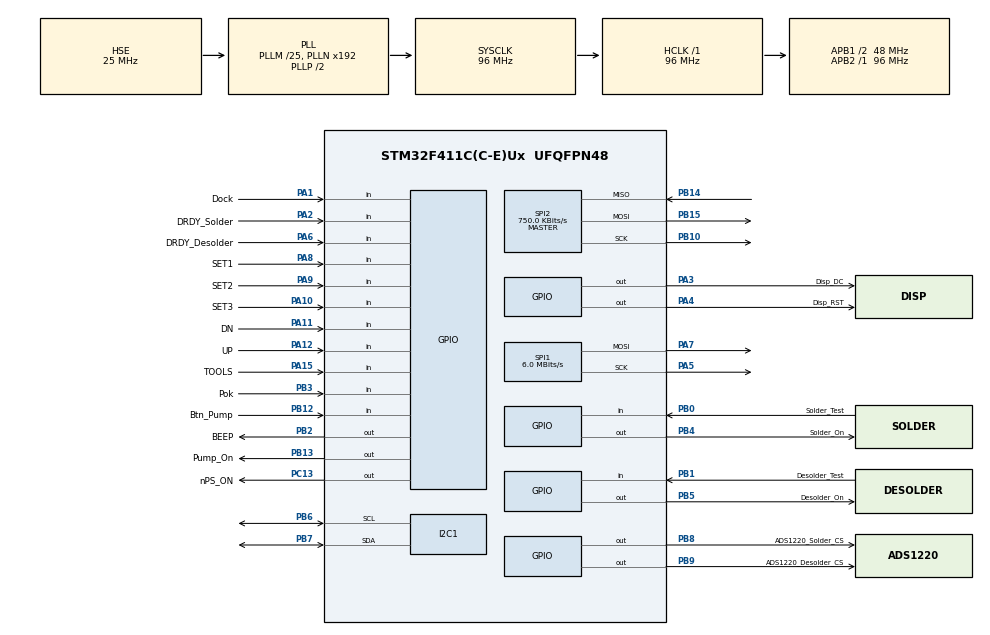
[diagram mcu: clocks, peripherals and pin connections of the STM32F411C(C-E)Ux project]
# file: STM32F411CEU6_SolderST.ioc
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Dma.Request0=SPI1_TX
Dma.SPI1_TX.0.Direction=DMA_MEMORY_TO_PERIPH
Dma.SPI1_TX.0.FIFOMode=DMA_FIFOMODE_DISABLE
Dma.SPI1_TX.0.Instance=DMA2_Stream2
Dma.SPI1_TX.0.MemDataAlignment=DMA_MDATAALIGN_BYTE
Dma.SPI1_TX.0.MemInc=DMA_MINC_ENABLE
Dma.SPI1_TX.0.Mode=DMA_NORMAL
Dma.SPI1_TX.0.PeriphDataAlignment=DMA_PDATAALIGN_BYTE
Dma.SPI1_TX.0.PeriphInc=DMA_PINC_DISABLE
Dma.SPI1_TX.0.Priority=DMA_PRIORITY_MEDIUM
I2C1.DutyCycle=I2C_DUTYCYCLE_2
I2C1.I2C_Mode=I2C_Fast
Mcu.Family=STM32F4
Mcu.Name=STM32F411C(C-E)Ux
Mcu.Package=UFQFPN48
NVIC.DMA2_Stream2_IRQn=true\:0\:0\:false\:false\:true\:false\:true\:true
NVIC.PriorityGroup=NVIC_PRIORITYGROUP_4
PA1.GPIO_Label=Dock
PA1.GPIO_PuPd=GPIO_PULLUP
PA1.Signal=GPIO_Input
PA10.GPIO_Label=SET3
PA10.GPIO_PuPd=GPIO_PULLUP
PA10.Signal=GPIO_Input
PA11.GPIO_Label=DN
PA11.GPIO_PuPd=GPIO_PULLUP
PA11.Signal=GPIO_Input
PA12.GPIO_Label=UP
PA12.GPIO_PuPd=GPIO_PULLUP
PA12.Signal=GPIO_Input
PA15.GPIO_Label=TOOLS
PA15.GPIO_PuPd=GPIO_PULLUP
PA15.Signal=GPIO_Input
PA2.GPIO_Label=DRDY_Solder
PA2.Signal=GPIO_Input
PA3.GPIO_Label=Disp_DC
PA3.Signal=GPIO_Output
PA4.GPIO_Label=Disp_RST
PA4.Signal=GPIO_Output
PA5.Mode=TX_Only_Simplex_Unidirect_Master
PA5.Signal=SPI1_SCK
PA6.GPIO_Label=DRDY_Desolder
PA6.Signal=GPIO_Input
PA7.Mode=TX_Only_Simplex_Unidirect_Master
PA7.Signal=SPI1_MOSI
PA8.GPIO_Label=SET1
PA8.GPIO_PuPd=GPIO_PULLUP
PA8.Signal=GPIO_Input
PA9.GPIO_Label=SET2
PA9.GPIO_PuPd=GPIO_PULLUP
PA9.Signal=GPIO_Input
PB0.GPIO_Label=Solder_Test
PB0.GPIO_PuPd=GPIO_PULLUP
PB0.Signal=GPIO_Input
PB1.GPIO_Label=Desolder_Test
PB1.GPIO_PuPd=GPIO_PULLUP
PB1.Signal=GPIO_Input
PB10.Mode=Full_Duplex_Master
PB10.Signal=SPI2_SCK
PB12.GPIO_Label=Btn_Pump
PB12.GPIO_PuPd=GPIO_PULLDOWN
PB12.Signal=GPIO_Input
PB13.GPIO_Label=Pump_On
PB13.PinState=GPIO_PIN_SET
PB13.Signal=GPIO_Output
PB14.Mode=Full_Duplex_Master
PB14.Signal=SPI2_MISO
PB15.Mode=Full_Duplex_Master
PB15.Signal=SPI2_MOSI
PB2.GPIO_Label=BEEP
PB2.PinState=GPIO_PIN_RESET
PB2.Signal=GPIO_Output
PB3.GPIO_Label=Pok
PB3.GPIO_PuPd=GPIO_PULLUP
PB3.Signal=GPIO_Input
PB4.GPIO_Label=Solder_On
PB4.PinState=GPIO_PIN_SET
PB4.Signal=GPIO_Output
PB5.GPIO_Label=Desolder_On
PB5.PinState=GPIO_PIN_SET
PB5.Signal=GPIO_Output
PB6.Mode=I2C
PB6.Signal=I2C1_SCL
PB7.Mode=I2C
PB7.Signal=I2C1_SDA
PB8.GPIO_Label=ADS1220_Solder_CS
PB8.PinState=GPIO_PIN_SET
PB8.Signal=GPIO_Output
PB9.GPIO_Label=ADS1220_Desolder_CS
PB9.PinState=GPIO_PIN_SET
PB9.Signal=GPIO_Output
PC13-ANTI_TAMP.GPIO_Label=nPS_ON
PC13-ANTI_TAMP.GPIO_ModeDefaultOutputPP=GPIO_MODE_OUTPUT_PP
PC13-ANTI_TAMP.GPIO_PuPd=GPIO_NOPULL
PC13-ANTI_TAMP.PinState=GPIO_PIN_SET
PC13-ANTI_TAMP.Signal=GPIO_Output
PH0\ -\ OSC_IN.Mode=HSE-External-Oscillator
PH0\ -\ OSC_IN.Signal=RCC_OSC_IN
PH1\ -\ OSC_OUT.Mode=HSE-External-Oscillator
PH1\ -\ OSC_OUT.Signal=RCC_OSC_OUT
ProjectManager.HeapSize=0x200
ProjectManager.StackSize=0x400
ProjectManager.TargetToolchain=STM32CubeIDE
RCC.48MHZClocksFreq_Value=48000000
RCC.AHBFreq_Value=96000000
RCC.APB1CLKDivider=RCC_HCLK_DIV2
RCC.APB1Freq_Value=48000000
RCC.APB1TimFreq_Value=96000000
RCC.APB2Freq_Value=96000000
RCC.APB2TimFreq_Value=96000000
RCC.CortexFreq_Value=96000000
RCC.HCLKFreq_Value=96000000
RCC.HSE_VALUE=25000000
RCC.HSI_VALUE=16000000
RCC.LSE_VALUE=32768
RCC.PLLM=25
RCC.PLLSourceVirtual=RCC_PLLSOURCE_HSE
RCC.SYSCLKFreq_VALUE=96000000
RCC.SYSCLKSource=RCC_SYSCLKSOURCE_PLLCLK
RCC.VCOOutputFreq_Value=192000000
SPI1.BaudRatePrescaler=SPI_BAUDRATEPRESCALER_16
SPI1.CLKPhase=SPI_PHASE_2EDGE
SPI1.CLKPolarity=SPI_POLARITY_HIGH
SPI1.CalculateBaudRate=6.0 MBits/s
SPI1.Direction=SPI_DIRECTION_2LINES
SPI1.Mode=SPI_MODE_MASTER
SPI1.VirtualType=VM_MASTER
SPI2.BaudRatePrescaler=SPI_BAUDRATEPRESCALER_64
SPI2.CLKPhase=SPI_PHASE_2EDGE
SPI2.CalculateBaudRate=750.0 KBits/s
SPI2.Direction=SPI_DIRECTION_2LINES
SPI2.Mode=SPI_MODE_MASTER
SPI2.VirtualType=VM_MASTER
board=custom

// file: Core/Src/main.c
/* USER CODE BEGIN Header */
/**
  ******************************************************************************
  * @file           : main.c
  * @brief          : Main program body
  ******************************************************************************
  * @attention
  *
  * Copyright (c) 2026 STMicroelectronics.
  * All rights reserved.
  *
  * This software is licensed under terms that can be found in the LICENSE file
  * in the root directory of this software component.
  * If no LICENSE file comes with this software, it is provided AS-IS.
  *
  ******************************************************************************
  */
/* USER CODE END Header */
#include "main.h"
#include "dma.h"
#include "i2c.h"
#include "spi.h"
#include "gpio.h"

/* USER CODE BEGIN Includes */
#include "display.h"
#include "gfx.h"
#include "fonts.h"
#include "text_field.h"
#include "screen.h"
#include "splash.h"
#include "buttons.h"
#include "sleep.h"
#include "fsm.h"
#include "settings.h"
#include "state.h"
#include "error.h"
#include "ads1220.h"
#include "beep.h"
#include "diag.h"
#include "control.h"
#include "pump.h"
/* USER CODE END Includes */

void SystemClock_Config(void);

/* USER CODE BEGIN 0 */

/* Аппаратный сторожевой таймер IWDG. Без него зависание главного цикла (или
 * бесконечный цикл в HardFault/Error_Handler) оставляет пины Solder_On/
 * Desolder_On на последнем уровне — включённый нагреватель греет на полную
 * до снятия питания. По сбросу IWDG пины возвращаются в выключенное состояние
 * из MX_GPIO_Init().
 *
 * Настроен напрямую через регистры (не через HAL_IWDG и не через .ioc):
 * не зависит от регенерации CubeMX (stm32f4xx_hal_conf.h/.ioc не трогаем).
 * LSI ~32 кГц (разброс 17..47 кГц), делитель /32, RLR=2000: номинально ~2 с,
 * в худшем случае не меньше ~1.4 с — заметно больше самого длинного
 * блокирующего места в главном цикле (перерисовка экрана по DMA — сотни мс).
 * Обновляется в 10мс-блоке главного цикла после Control_Poll() (см. ниже).
 * В отладке (стоп на брейкпоинте) счётчик замораживается. IWDG нельзя
 * остановить после запуска — запускается один раз, перед главным циклом,
 * уже после двойного прохода (самосброса) запуска: сброс IWDG проходит
 * запуск заново так же, как холодный старт. */
#define WATCHDOG_PRESCALER_DIV32  3U
#define WATCHDOG_RELOAD           2000U

static void Watchdog_Start(void)
{
  __HAL_DBGMCU_FREEZE_IWDG();
  IWDG->KR = 0xCCCCU;                     /* старт (LSI запускается автоматически) */
  IWDG->KR = 0x5555U;                     /* разблокировать PR/RLR */
  IWDG->PR  = WATCHDOG_PRESCALER_DIV32;
  IWDG->RLR = WATCHDOG_RELOAD;
  for (uint32_t i = 0; (IWDG->SR != 0U) && (i < 1000000U); i++) { } /* PVU/RVU */
  IWDG->KR = 0xAAAAU;                     /* перезагрузить счётчик новыми параметрами */
}

static inline void Watchdog_Refresh(void)
{
  IWDG->KR = 0xAAAAU;
}

/* USER CODE END 0 */

int main(void)
{

  /* MCU Configuration--------------------------------------------------------*/

  /* Reset of all peripherals, Initializes the Flash interface and the Systick. */
  HAL_Init();

  /* Configure the system clock */
  SystemClock_Config();

  /* Initialize all configured peripherals */
  MX_GPIO_Init();
  MX_DMA_Init();
  MX_I2C1_Init();
  MX_SPI1_Init();
  MX_SPI2_Init();
  /* USER CODE BEGIN 2 */
  Display_Init();

  /* Настройки читаем ДО заставки — режим заставки (пункт меню "Заставка")
   * лежит в них. Статус загрузки в Error отдаём позже, после заставки (см.
   * ниже): таймер транзитного сообщения об EEPROM стартует в
   * Error_ReportEepromStatus(), и 2 секунды заставки не должны его съедать. */
  State_Init();
  Settings_Init();   /* дефолты в RAM на случай сбоя чтения ниже */
  SettingsLoadStatus_t settings_load_status = Settings_Load(); /* поверх дефолтов — то, что реально сохранено в EEPROM (или ошибка/стёртый чип, см. settings.c) */

  /* Заставка на SPLASH_HOLD_MS при включении (Icons/Designer.png, 320x240 —
   * совпадает с размером экрана при DISPLAY_ROTATION_0, без масштабирования,
   * см. splash.h), если режим заставки не SPLASH_MODE_OFF. Блокирующее
   * ожидание оправдано: это разовая пауза ДО входа в главный цикл,
   * опрашивать пока ещё нечего (кнопки/АЦП/Control ещё не инициализированы). */
  if (Settings_GetSplashMode() != SPLASH_MODE_OFF) {
    Display_SetWindow(0, 0, 319, 239);
    Display_WritePixelsDMA(SplashScreen_Bitmap, (uint32_t)SPLASH_BITMAP_W * SPLASH_BITMAP_H);
    while (Display_IsBusy()) { } /* см. комментарий у чёрной заливки ниже */
    HAL_Delay(SPLASH_HOLD_MS);
  }

  Display_SetWindow(0, 0, 319, 239);
  Display_FillColorDMA(DISPLAY_RGB565(0, 0, 0), 320 * 240);
  while (Display_IsBusy()) { } /* Однократное ожидание при старте, до входа в главный цикл */

  TextField_Init();

  Error_Init();
  Error_ReportEepromStatus(settings_load_status); /* статус — в Error, для сообщения в инфозоне */
  Error_ReportPsuStatus(HAL_GPIO_ReadPin(Pok_GPIO_Port, Pok_Pin) == GPIO_PIN_RESET); /* разовое чтение сразу — иначе фейл-сейф Error_Init() мигнёт "БП не исправен" в первые ~10мс, даже если питание в норме, см. error.h */
  InputFSM_SyncStateFromSettings(); /* без этого State.setpoint_temp==0 до первого нажатия SET/UP/DN — см. fsm.h */

  ADS1220_Init(); /* оба канала (Solder/Desolder), см. ads1220.h по схеме/регистрам */
  Beep_Init();    /* после MX_GPIO_Init(), зуммер активный высокий — см. beep.h */
  Diag_Init();    /* после Error_Init() и ADS1220_Init() — см. diag.h */

  Buttons_Init();
  Sleep_Init();
  InputFSM_Init();

  Control_Init(); /* после State/Settings/Error/ADS1220/Sleep — Control читает их все, см. control.h */
  Pump_Init();    /* после MX_GPIO_Init(), Pump_On активный низкий — см. pump.h */

  Screen_Init();     /* статика (разделитель) + геометрия строк, после TextField_Init() */
  Screen_Update();   /* первое наполнение содержимым (только помечает строки грязными —
                       * реальная отрисовка стартует в первых итерациях главного цикла,
                       * через TextField_Process()) */

  /* Тайминг-гейт для модулей, чей дебаунс/таймеры считаются В ОПРОСАХ, а не
   * во времени (Buttons_Poll(), Sleep_Poll()) — оба
   * задокументированы как "вызывать с периодом ~10 мс", но без этого гейта
   * они опрашивались бы на каждой итерации главного цикла (единицы мкс),
   * и дебаунс в 3 стабильных опроса превращался бы в единицы мкс вместо
   * заявленных 30 мс. Без дрейфа — += period, а не = HAL_GetTick(). */
  uint32_t poll10ms_last_tick = HAL_GetTick();

  /* Отдельный дрейф-фри гейт на SCREEN_UPDATE_MS (30мс) для Screen_Update() —
   * период другой, чем у 10мс-блока выше, поэтому отдельная переменная и
   * отдельный if, а не общий счётчик. TextField_Process() — без гейта, см.
   * ниже. */
  uint32_t screen_update_last_tick = HAL_GetTick();

  Beep_PowerOn(); /* короткий сигнал включения станции; здесь, а не рядом с Beep_Init(): после Settings_Load() (флаг Bzzz) и без блокирующей инициализации между стартом сигнала и первым Beep_Poll() (иначе тон растянулся бы) */

  /* Сторожевой — последним перед главным циклом (после самосброса и всей
   * блокирующей инициализации), см. комментарий у Watchdog_Start(). */
  Watchdog_Start();

  /* USER CODE END 2 */

  /* Infinite loop */
  while (1)
  {

    /* USER CODE BEGIN 3 */
    if (HAL_GetTick() - poll10ms_last_tick >= BUTTONS_POLL_MS) {
        poll10ms_last_tick += BUTTONS_POLL_MS;
        Buttons_Poll();
        Beep_Poll(); /* тот же гейт 10мс — BEEP_POLL_MS == 10, полупериод меандра 250мс, запас ~25x */
        Sleep_Poll(); /* тот же гейт 10мс — BUTTONS_POLL_MS == SLEEP_POLL_MS, см. sleep.h */

        /* Конвейер одного измерения: ADS1220 -> Diag -> Error -> Control. Порядок
         * важен: Diag и Control должны работать с ОДНИМ И ТЕМ ЖЕ отсчётом —
         * иначе PID видит новую температуру, а Error ещё держит диагностику
         * предыдущего отсчёта. */
        ADS1220_Poll(); /* тот же гейт 10мс — ADS1220_POLL_MS тоже 10, см. ads1220.h (сам DRDY на 20SPS обновляется раз в ~50мс, опрос чаще — просто чтение GPIO, дёшево) */
        Diag_Poll(); /* тот же гейт 10мс — DIAG_POLL_MS == 10, см. diag.h; после ADS1220_Poll(), до Control_Poll() */
        Error_ReportPsuStatus(HAL_GPIO_ReadPin(Pok_GPIO_Port, Pok_Pin) == GPIO_PIN_RESET); /* Pok активный низкий; без дебаунса; если на реальном железе окажется дребезг, добавить по образцу sleep.c; до Control_Poll(), чтобы авария БП учитывалась в том же проходе */
        Control_Poll(); /* тот же гейт 10мс — CONTROL_POLL_MS тоже 10, см. control.h. Сам писатель
                          * State.current_temp/heater_active */

        Pump_Poll();    /* тот же гейт 10мс — PUMP_POLL_MS == 10, после Diag_Poll()/Control_Poll(): читает уже обновлённые Error/State, см. pump.h */

        /* Сторожевой — ПОСЛЕ Control_Poll(): зависание любого опроса выше, как
         * и остановка SysTick (гейт по HAL_GetTick), приводит к сбросу. */
        Watchdog_Refresh();
    }

    InputFSM_Poll();
    /* Отложенная запись в EEPROM — сама решает, когда физически писать. В
     * сервисном меню НЕ вызывается: правки меню пишутся одной транзакцией при
     * выходе (fsm.c: exit_service_to_main() -> Settings_Save()), см. menu.h. Если
     * питание пропадёт посреди сессии меню, в EEPROM останется состояние до её
     * начала. */
    if (InputFSM_GetScreenMode() != SCREEN_MODE_SERVICE) {
        Settings_Poll();
    }
    Error_Poll();     /* таймер транзитного сообщения EEPROM в инфозоне */

    if (HAL_GetTick() - screen_update_last_tick >= SCREEN_UPDATE_MS) {
        screen_update_last_tick += SCREEN_UPDATE_MS;
        Screen_Update();  /* обновить содержимое строк из State/Settings/InputFSM */
    }
    TextField_Process(); /* рендер — сам по себе, догоняет данные по мере готовности DMA, без гейта */
  }
  /* USER CODE END 3 */
}

void SystemClock_Config(void)
{
  RCC_OscInitTypeDef RCC_OscInitStruct = {0};
  RCC_ClkInitTypeDef RCC_ClkInitStruct = {0};

  /** Configure the main internal regulator output voltage
  */
  __HAL_RCC_PWR_CLK_ENABLE();
  __HAL_PWR_VOLTAGESCALING_CONFIG(PWR_REGULATOR_VOLTAGE_SCALE1);

  /** Initializes the RCC Oscillators according to the specified parameters
  * in the RCC_OscInitTypeDef structure.
  */
  RCC_OscInitStruct.OscillatorType = RCC_OSCILLATORTYPE_HSE;
  RCC_OscInitStruct.HSEState = RCC_HSE_ON;
  RCC_OscInitStruct.PLL.PLLState = RCC_PLL_ON;
  RCC_OscInitStruct.PLL.PLLSource = RCC_PLLSOURCE_HSE;
  RCC_OscInitStruct.PLL.PLLM = 25;
  RCC_OscInitStruct.PLL.PLLN = 192;
  RCC_OscInitStruct.PLL.PLLP = RCC_PLLP_DIV2;
  RCC_OscInitStruct.PLL.PLLQ = 4;
  if (HAL_RCC_OscConfig(&RCC_OscInitStruct) != HAL_OK)
  {
    Error_Handler();
  }

  /** Initializes the CPU, AHB and APB buses clocks
  */
  RCC_ClkInitStruct.ClockType = RCC_CLOCKTYPE_HCLK|RCC_CLOCKTYPE_SYSCLK
                              |RCC_CLOCKTYPE_PCLK1|RCC_CLOCKTYPE_PCLK2;
  RCC_ClkInitStruct.SYSCLKSource = RCC_SYSCLKSOURCE_PLLCLK;
  RCC_ClkInitStruct.AHBCLKDivider = RCC_SYSCLK_DIV1;
  RCC_ClkInitStruct.APB1CLKDivider = RCC_HCLK_DIV2;
  RCC_ClkInitStruct.APB2CLKDivider = RCC_HCLK_DIV1;

  if (HAL_RCC_ClockConfig(&RCC_ClkInitStruct, FLASH_LATENCY_3) != HAL_OK)
  {
    Error_Handler();
  }
}

void Error_Handler(void)
{
  /* USER CODE BEGIN Error_Handler_Debug */
  /* User can add his own implementation to report the HAL error return state */
  /* Fail-safe: прежде чем встать — выключить нагреватели и насос (все три
   * активным НИЗКИМ уровнем, высокий = выключено, см. gpio.c/pump.h). Иначе
   * включённый нагреватель остался бы включённым навсегда. Сторожевой при
   * этом продолжает работать: через ~2 с сброс и перезапуск (пины опять
   * выключены), при устойчивой ошибке — цикл перезапусков, нагрев не включается. */
  HAL_GPIO_WritePin(Solder_On_GPIO_Port,   Solder_On_Pin,   GPIO_PIN_SET);
  HAL_GPIO_WritePin(Desolder_On_GPIO_Port, Desolder_On_Pin, GPIO_PIN_SET);
  HAL_GPIO_WritePin(Pump_On_GPIO_Port,     Pump_On_Pin,     GPIO_PIN_SET);
  __disable_irq();
  while (1)
  {
  }
  /* USER CODE END Error_Handler_Debug */
}
